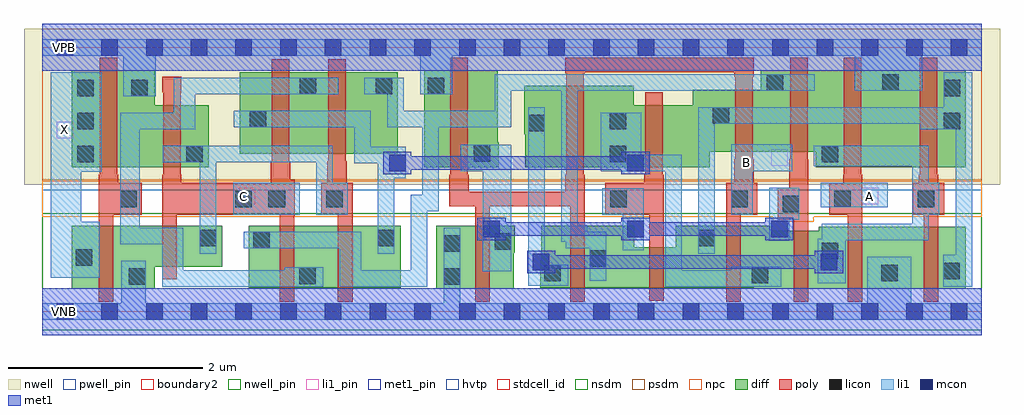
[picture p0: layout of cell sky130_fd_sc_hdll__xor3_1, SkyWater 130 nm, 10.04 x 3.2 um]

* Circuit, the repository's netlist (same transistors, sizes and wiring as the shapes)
* Copyright 2020 The SkyWater PDK Authors
*
* Licensed under the Apache License, Version 2.0 (the "License");
* you may not use this file except in compliance with the License.
* You may obtain a copy of the License at
*
*     https://www.apache.org/licenses/LICENSE-2.0
*
* Unless required by applicable law or agreed to in writing, software
* distributed under the License is distributed on an "AS IS" BASIS,
* WITHOUT WARRANTIES OR CONDITIONS OF ANY KIND, either express or implied.
* See the License for the specific language governing permissions and
* limitations under the License.
*
* SPDX-License-Identifier: Apache-2.0

.SUBCKT sky130_fd_sc_hdll__xor3_1 A B C VGND VNB VPB VPWR X
*.PININFO A:I B:I C:I VGND:I VNB:I VPB:I VPWR:I X:O
MMIP3 X net117 VPWR VPB sky130_fd_pr__pfet_01v8_hvt m=1 w=1.0U l=0.18U mult=1 sa=0.265
+ sb=0.265 sd=0.28 area=0.063 perim=1.14
MI650 mid1 Cb net117 VPB sky130_fd_pr__pfet_01v8_hvt m=1 w=0.84U l=0.18U mult=1
+ sa=0.265 sb=0.265 sd=0.28 area=0.063 perim=1.14
MI1 mid2 C net117 VPB sky130_fd_pr__pfet_01v8_hvt m=1 w=0.84U l=0.18U mult=1 sa=0.265
+ sb=0.265 sd=0.28 area=0.063 perim=1.14
MI33 Cb C VPWR VPB sky130_fd_pr__pfet_01v8_hvt m=1 w=0.64U l=0.18U mult=1 sa=0.265
+ sb=0.265 sd=0.28 area=0.063 perim=1.14
MI45 Ab A VPWR VPB sky130_fd_pr__pfet_01v8_hvt m=1 w=1.0U l=0.18U mult=1 sa=0.265
+ sb=0.265 sd=0.28 area=0.063 perim=1.14
MI47 Abb Ab VPWR VPB sky130_fd_pr__pfet_01v8_hvt m=1 w=1.0U l=0.18U mult=1 sa=0.265
+ sb=0.265 sd=0.28 area=0.063 perim=1.14
MI19 mid1 Bb Ab VPB sky130_fd_pr__pfet_01v8_hvt m=1 w=0.84U l=0.18U mult=1 sa=0.265
+ sb=0.265 sd=0.28 area=0.063 perim=1.14
MI16 Bb B VPWR VPB sky130_fd_pr__pfet_01v8_hvt m=1 w=1.0U l=0.18U mult=1 sa=0.265
+ sb=0.265 sd=0.28 area=0.063 perim=1.14
MI23 mid1 B Abb VPB sky130_fd_pr__pfet_01v8_hvt m=1 w=0.64U l=0.18U mult=1 sa=0.265
+ sb=0.265 sd=0.28 area=0.063 perim=1.14
MI26 mid2 Bb Abb VPB sky130_fd_pr__pfet_01v8_hvt m=1 w=0.64U l=0.18U mult=1 sa=0.265
+ sb=0.265 sd=0.28 area=0.063 perim=1.14
MI27 mid2 B Ab VPB sky130_fd_pr__pfet_01v8_hvt m=1 w=0.84U l=0.18U mult=1 sa=0.265
+ sb=0.265 sd=0.28 area=0.063 perim=1.14
MMIN3 X net117 VGND VNB sky130_fd_pr__nfet_01v8 m=1 w=0.65U l=0.15U mult=1 sa=0.265
+ sb=0.265 sd=0.28 area=0.063 perim=1.14
MI34 Cb C VGND VNB sky130_fd_pr__nfet_01v8 m=1 w=0.42U l=0.15U mult=1 sa=0.265
+ sb=0.265 sd=0.28 area=0.063 perim=1.14
MI649 mid1 C net117 VNB sky130_fd_pr__nfet_01v8 m=1 w=0.64U l=0.15U mult=1 sa=0.265
+ sb=0.265 sd=0.28 area=0.063 perim=1.14
MI2 mid2 Cb net117 VNB sky130_fd_pr__nfet_01v8 m=1 w=0.64U l=0.15U mult=1 sa=0.265
+ sb=0.265 sd=0.28 area=0.063 perim=1.14
MI44 Ab A VGND VNB sky130_fd_pr__nfet_01v8 m=1 w=0.64U l=0.15U mult=1 sa=0.265
+ sb=0.265 sd=0.28 area=0.063 perim=1.14
MI46 Abb Ab VGND VNB sky130_fd_pr__nfet_01v8 m=1 w=0.64U l=0.15U mult=1 sa=0.265
+ sb=0.265 sd=0.28 area=0.063 perim=1.14
MI17 Bb B VGND VNB sky130_fd_pr__nfet_01v8 m=1 w=0.65U l=0.15U mult=1 sa=0.265
+ sb=0.265 sd=0.28 area=0.063 perim=1.14
MI24 Ab B mid1 VNB sky130_fd_pr__nfet_01v8 m=1 w=0.64U l=0.15U mult=1 sa=0.265
+ sb=0.265 sd=0.28 area=0.063 perim=1.14
MI25 Abb Bb mid1 VNB sky130_fd_pr__nfet_01v8 m=1 w=0.42U l=0.15U mult=1 sa=0.265
+ sb=0.265 sd=0.28 area=0.063 perim=1.14
MI28 Abb B mid2 VNB sky130_fd_pr__nfet_01v8 m=1 w=0.64U l=0.15U mult=1 sa=0.265
+ sb=0.265 sd=0.28 area=0.063 perim=1.14
MI29 Ab Bb mid2 VNB sky130_fd_pr__nfet_01v8 m=1 w=0.6U l=0.15U mult=1 sa=0.265
+ sb=0.265 sd=0.28 area=0.063 perim=1.14
.ENDS sky130_fd_sc_hdll__xor3_1

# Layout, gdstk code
import gdstk
lib = gdstk.Library(unit=1e-6, precision=1e-09)
def R(c, l, rs):  # rectangles x0, y0, x1, y1
    for r in rs: c.add(gdstk.rectangle(r[:2], r[2:], *l))
def A(c, l, x, y, w, h, nx, ny, dx, dy):  # array of equal rectangles
    R(c, l, [(x+i*dx, y+j*dy, x+i*dx+w, y+j*dy+h) for i in range(nx) for j in range(ny)])
def P(c, l, *ps):  # polygons
    for p in ps: c.add(gdstk.Polygon(p, *l))
nwell_pin = (64, 16)
nwell = (64, 20)
diff = (65, 20)
poly = (66, 20)
licon = (66, 44)
li1_pin = (67, 16)
li1 = (67, 20)
mcon = (67, 44)
met1_pin = (68, 16)
met1 = (68, 20)
hvtp = (78, 44)
stdcell_id = (81, 4)
nsdm = (93, 44)
psdm = (94, 20)
npc = (95, 20)
pwell_pin = (122, 16)
boundary2 = (236, 0)

sky130_fd_sc_hdll__xor3_ = lib.new_cell('sky130_fd_sc_hdll__xor3_1')
R(sky130_fd_sc_hdll__xor3_, nwell_pin, [(0.145,2.635,0.315,2.805)])
R(sky130_fd_sc_hdll__xor3_, nwell, [(-0.19,1.305,9.85,2.91)])
R(sky130_fd_sc_hdll__xor3_, diff, [(2.12,0.245,3.685,0.885), (2.03,1.625,3.655,2.465)])
P(sky130_fd_sc_hdll__xor3_, diff, [(1.71,2.125),(1.155,2.125),(1.155,2.485),(0.3,2.485),(0.3,1.485),(1.71,1.485)],
  [(1.85,0.885),(0.3,0.885),(0.3,0.235),(1.155,0.235),(1.155,0.465),(1.85,0.465)],
  [(4.695,1.745),(4.685,1.745),(4.685,2.485),(3.925,2.485),(3.925,1.485),(4.695,1.485)],
  [(4.86,0.885),(4.05,0.885),(4.05,0.235),(4.85,0.235),(4.85,0.605),(4.86,0.605)],
  [(9.5,2.485),(7.39,2.485),(7.39,2.285),(6.69,2.285),(6.69,2.125),(6.08,2.125),(6.08,2.325),(4.955,2.325),(4.955,1.825),(4.965,1.825),(4.965,1.485),(6.865,1.485),(6.865,1.645),(7.955,1.645),(7.955,1.485),(9.5,1.485)],
  [(9.5,0.875),(7.985,0.875),(7.985,0.835),(7.485,0.835),(7.485,0.885),(6.515,0.885),(6.515,0.665),(6.085,0.665),(6.085,0.885),(5.13,0.885),(5.13,0.525),(5.12,0.525),(5.12,0.245),(7.32,0.245),(7.32,0.235),(9.5,0.235)])
P(sky130_fd_sc_hdll__xor3_, poly, [(1.02,1.325),(0.78,1.325),(0.78,1.41),(0.77,1.41),(0.77,2.615),(0.59,2.615),(0.59,1.41),(0.58,1.41),(0.58,0.105),(0.73,0.105),(0.73,0.995),(1.02,0.995)],
  [(2.595,1.355),(2.55,1.355),(2.55,1.55),(2.54,1.55),(2.54,2.595),(2.36,2.595),(2.36,1.55),(2.35,1.55),(2.35,1.325),(1.43,1.325),(1.43,1.41),(1.42,1.41),(1.42,2.255),(1.43,2.255),(1.43,2.415),(1.23,2.415),(1.23,2.255),(1.24,2.255),(1.24,1.41),(1.23,1.41),(1.23,0.335),(1.38,0.335),(1.38,0.995),(2.44,0.995),(2.44,0.105),(2.59,0.105),(2.59,0.985),(2.595,0.985)],
  [(3.19,1.325),(3.13,1.325),(3.13,1.55),(3.12,1.55),(3.12,2.595),(2.94,2.595),(2.94,1.55),(2.93,1.55),(2.93,1.325),(2.87,1.325),(2.87,0.995),(3.04,0.995),(3.04,0.105),(3.19,0.105)],
  [(6.39,1.41),(6.38,1.41),(6.38,2.255),(6.2,2.255),(6.2,1.41),(6.19,1.41),(6.19,1.325),(5.79,1.325),(5.79,0.995),(6.24,0.995),(6.24,0.115),(6.39,0.115)],
  [(7.355,1.325),(7.315,1.325),(7.315,1.57),(7.305,1.57),(7.305,2.415),(7.315,2.415),(7.315,2.615),(5.38,2.615),(5.38,2.455),(5.39,2.455),(5.39,1.41),(5.38,1.41),(5.38,1.235),(4.385,1.235),(4.385,1.41),(4.375,1.41),(4.375,2.615),(4.195,2.615),(4.195,1.41),(4.185,1.41),(4.185,1.085),(4.45,1.085),(4.45,0.105),(4.6,0.105),(4.6,1.085),(5.43,1.085),(5.43,0.105),(5.58,0.105),(5.58,1.41),(5.57,1.41),(5.57,2.455),(5.58,2.455),(5.58,2.465),(7.115,2.465),(7.115,2.415),(7.125,2.415),(7.125,1.57),(7.115,1.57),(7.115,1.325),(7.035,1.325),(7.035,0.105),(7.185,0.105),(7.185,0.995),(7.355,0.995)],
  [(7.88,1.57),(7.87,1.57),(7.87,2.615),(7.69,2.615),(7.69,1.57),(7.68,1.57),(7.68,1.275),(7.565,1.275),(7.565,0.945),(7.73,0.945),(7.73,0.105),(7.88,0.105)],
  [(8.435,1.41),(8.425,1.41),(8.425,2.615),(8.245,2.615),(8.245,1.41),(8.235,1.41),(8.235,1.325),(8.095,1.325),(8.095,0.995),(8.285,0.995),(8.285,0.105),(8.435,0.105)],
  [(9.275,1.325),(9.215,1.325),(9.215,1.41),(9.205,1.41),(9.205,2.615),(9.025,2.615),(9.025,1.41),(9.015,1.41),(9.015,1.325),(8.955,1.325),(8.955,0.995),(9.065,0.995),(9.065,0.105),(9.215,0.105),(9.215,0.995),(9.275,0.995)])
A(sky130_fd_sc_hdll__xor3_, licon, 0.36, 1.535, 0.17, 0.17, 1, 3, 0, 0.34)
R(sky130_fd_sc_hdll__xor3_, licon, [(0.89,0.275,1.06,0.445), (4.13,0.275,4.3,0.445), (2.64,0.285,2.81,0.455), (7.295,0.295,7.465,0.465), (5.16,0.315,5.33,0.485), (8.63,0.315,8.8,0.485), (9.265,0.335,9.435,0.505), (5.63,0.46,5.8,0.63), (0.34,0.475,0.51,0.645), (8.015,0.54,8.185,0.71), (4.13,0.615,4.3,0.785), (4.65,0.635,4.82,0.805), (2.17,0.655,2.34,0.825), (1.62,0.675,1.79,0.845), (3.45,0.675,3.62,0.845), (6.745,0.675,6.915,0.845), (7.615,1.025,7.785,1.195), (0.8,1.075,0.97,1.245), (1.985,1.075,2.155,1.245), (2.325,1.075,2.495,1.245), (2.92,1.075,3.09,1.245), (5.84,1.075,6.01,1.245), (7.085,1.075,7.255,1.245), (8.145,1.075,8.315,1.245), (9.005,1.075,9.175,1.245), (1.48,1.535,1.65,1.705), (5.835,1.535,6.005,1.705), (8.015,1.535,8.185,1.705), (4.435,1.545,4.605,1.715), (4.995,1.855,5.165,2.025), (5.835,1.875,6.005,2.045), (9.27,1.875,9.44,2.045), (2.13,1.895,2.3,2.065), (6.895,1.935,7.065,2.105), (0.915,2.215,1.085,2.385), (9.27,2.215,9.44,2.385), (2.645,2.235,2.815,2.405), (3.43,2.235,3.6,2.405), (3.965,2.235,4.135,2.405), (7.45,2.275,7.62,2.445), (8.64,2.275,8.81,2.445)])
R(sky130_fd_sc_hdll__xor3_, li1_pin, [(2.02,1.105,2.19,1.275), (8.425,1.105,8.595,1.275), (7.495,1.5,7.665,1.67), (0.145,1.785,0.315,1.955)])
R(sky130_fd_sc_hdll__xor3_, li1, [(1.96,0.995,2.645,1.325), (8.005,1.075,8.695,1.325)])
P(sky130_fd_sc_hdll__xor3_, li1, [(9.66,0.085),(8.935,0.085),(8.935,0.565),(8.485,0.565),(8.485,0.085),(4.3,0.085),(4.3,0.865),(4.13,0.865),(4.13,0.085),(1.06,0.085),(1.06,0.525),(0.81,0.525),(0.81,0.085),(0,0.085),(0,-0.085),(9.66,-0.085)],
  [(9.225,1.325),(9.115,1.325),(9.115,1.705),(7.935,1.705),(7.935,1.495),(8.945,1.495),(8.945,0.905),(8.015,0.905),(8.015,0.75),(7.975,0.75),(7.975,0.295),(8.265,0.295),(8.265,0.735),(9.115,0.735),(9.115,0.995),(9.225,0.995)],
  [(0.61,2.465),(0.085,2.465),(0.085,0.35),(0.59,0.35),(0.59,0.925),(0.4,0.925),(0.4,1.44),(0.61,1.44)],
  [(3.045,2.405),(1.35,2.405),(1.35,2.045),(0.8,2.045),(0.8,0.695),(1.23,0.695),(1.23,0.255),(2.89,0.255),(2.89,0.455),(2.49,0.455),(2.49,0.425),(1.45,0.425),(1.45,0.865),(1,0.865),(1,1.875),(1.57,1.875),(1.57,2.235),(3.045,2.235)],
  [(3.14,1.325),(2.985,1.325),(2.985,1.705),(1.235,1.705),(1.235,1.535),(1.62,1.535),(1.62,0.595),(1.79,0.595),(1.79,1.535),(2.815,1.535),(2.815,0.995),(3.14,0.995)],
  [(3.735,1.695),(3.375,1.695),(3.375,2.065),(1.97,2.065),(1.97,1.895),(3.205,1.895),(3.205,1.525),(3.45,1.525),(3.45,0.595),(3.62,0.595),(3.62,1.375),(3.735,1.375)],
  [(4.82,1.715),(4.305,1.715),(4.305,1.445),(4.53,1.445),(4.53,0.415),(4.82,0.415)],
  [(5.41,0.485),(5.215,0.485),(5.215,0.595),(5.165,0.595),(5.165,2.105),(4.995,2.105),(4.995,0.265),(5.41,0.265)],
  [(6.185,1.27),(5.76,1.27),(5.76,0.995),(5.97,0.995),(5.97,0.63),(6.185,0.63)],
  [(9.66,2.805),(0,2.805),(0,2.635),(0.83,2.635),(0.83,2.215),(1.165,2.215),(1.165,2.635),(3.885,2.635),(3.885,2.235),(4.215,2.235),(4.215,2.635),(8.355,2.635),(8.355,2.275),(9.05,2.275),(9.05,2.635),(9.66,2.635)],
  [(7.6,0.465),(7.085,0.465),(7.085,0.425),(6.575,0.425),(6.575,1.615),(6.16,1.615),(6.16,2.045),(5.745,2.045),(5.745,1.445),(6.405,1.445),(6.405,0.255),(7.6,0.255)],
  [(7.715,1.725),(7.085,1.725),(7.085,0.995),(7.305,0.995),(7.305,1.445),(7.715,1.445)],
  [(7.785,1.275),(7.475,1.275),(7.475,0.73),(7.68,0.73),(7.68,0.945),(7.785,0.945)],
  [(9.565,2.465),(9.27,2.465),(9.27,2.105),(6.745,2.105),(6.745,0.595),(6.915,0.595),(6.915,1.935),(9.03,1.935),(9.03,1.875),(9.395,1.875),(9.395,0.585),(9.265,0.585),(9.265,0.255),(9.565,0.255)],
  [(7.945,2.445),(4.65,2.445),(4.65,2.065),(3.715,2.065),(3.715,2.405),(3.31,2.405),(3.31,2.235),(3.545,2.235),(3.545,1.895),(3.905,1.895),(3.905,1.205),(3.79,1.205),(3.79,0.425),(3.28,0.425),(3.28,0.825),(2.07,0.825),(2.07,0.655),(3.06,0.655),(3.06,0.255),(3.96,0.255),(3.96,1.035),(4.075,1.035),(4.075,1.895),(4.82,1.895),(4.82,2.275),(5.335,2.275),(5.335,0.72),(5.385,0.72),(5.385,0.655),(5.63,0.655),(5.63,0.32),(5.8,0.32),(5.8,0.825),(5.605,0.825),(5.605,0.89),(5.505,0.89),(5.505,2.275),(7.945,2.275)])
A(sky130_fd_sc_hdll__xor3_, mcon, 0.145, -0.085, 0.17, 0.17, 21, 2, 0.46, 2.72)
A(sky130_fd_sc_hdll__xor3_, mcon, 4.535, 0.765, 0.17, 0.17, 3, 1, 1.48, 0)
R(sky130_fd_sc_hdll__xor3_, mcon, [(5.045,0.425,5.215,0.595), (8.005,0.425,8.175,0.595), (3.565,1.445,3.735,1.615), (6.015,1.445,6.185,1.615)])
R(sky130_fd_sc_hdll__xor3_, met1_pin, [(0.145,-0.085,0.315,0.085), (0.145,2.635,0.315,2.805)])
R(sky130_fd_sc_hdll__xor3_, met1, [(0,-0.24,9.66,0.24), (0,2.48,9.66,2.96)])
P(sky130_fd_sc_hdll__xor3_, met1, [(6.245,1.645),(5.955,1.645),(5.955,1.6),(3.795,1.6),(3.795,1.645),(3.505,1.645),(3.505,1.415),(3.795,1.415),(3.795,1.46),(5.955,1.46),(5.955,1.415),(6.245,1.415)],
  [(7.725,0.965),(7.435,0.965),(7.435,0.92),(6.245,0.92),(6.245,0.965),(5.955,0.965),(5.955,0.92),(4.765,0.92),(4.765,0.965),(4.475,0.965),(4.475,0.735),(4.765,0.735),(4.765,0.78),(5.955,0.78),(5.955,0.735),(6.245,0.735),(6.245,0.78),(7.435,0.78),(7.435,0.735),(7.725,0.735)],
  [(8.235,0.625),(7.945,0.625),(7.945,0.58),(5.275,0.58),(5.275,0.625),(4.985,0.625),(4.985,0.395),(5.275,0.395),(5.275,0.44),(7.945,0.44),(7.945,0.395),(8.235,0.395)])
R(sky130_fd_sc_hdll__xor3_, hvtp, [(0,1.25,9.66,2.72)])
R(sky130_fd_sc_hdll__xor3_, stdcell_id, [(0,0,9.66,2.72)])
R(sky130_fd_sc_hdll__xor3_, nsdm, [(0,-0.19,9.66,1.015)])
R(sky130_fd_sc_hdll__xor3_, psdm, [(0,1.355,9.66,2.91)])
P(sky130_fd_sc_hdll__xor3_, npc, [(9.66,1.345),(0,1.345),(0,0.975),(7.515,0.975),(7.515,0.925),(7.935,0.925),(7.935,0.975),(9.66,0.975)])
R(sky130_fd_sc_hdll__xor3_, pwell_pin, [(0.145,-0.085,0.315,0.085)])
R(sky130_fd_sc_hdll__xor3_, boundary2, [(0,0,9.66,2.72)])
sky130_fd_sc_hdll__xor3_.add(gdstk.Label('X', (0.23,1.87), layer=67, texttype=5))
sky130_fd_sc_hdll__xor3_.add(gdstk.Label('C', (2.07,1.19), layer=67, texttype=5))
sky130_fd_sc_hdll__xor3_.add(gdstk.Label('B', (7.24,1.53), layer=67, texttype=5))
sky130_fd_sc_hdll__xor3_.add(gdstk.Label('A', (8.505,1.19), layer=67, texttype=5))
sky130_fd_sc_hdll__xor3_.add(gdstk.Label('VNB', (0.23,0), layer=64, texttype=59))
sky130_fd_sc_hdll__xor3_.add(gdstk.Label('VPB', (0.23,2.72), layer=64, texttype=5))
sky130_fd_sc_hdll__xor3_.add(gdstk.Label('VGND', (0.23,0), layer=68, texttype=5))
sky130_fd_sc_hdll__xor3_.add(gdstk.Label('VPWR', (0.23,2.72), layer=68, texttype=5))
sky130_fd_sc_hdll__xor3_.add(gdstk.Label('xor3_1', (0,0), layer=83, texttype=44))

lib.write_gds('sky130_fd_sc_hdll__xor3_1.gds')
